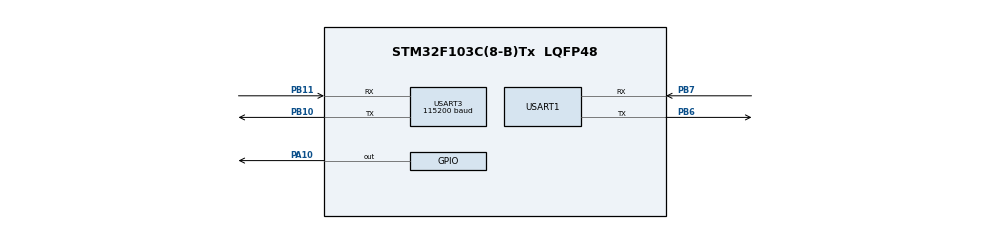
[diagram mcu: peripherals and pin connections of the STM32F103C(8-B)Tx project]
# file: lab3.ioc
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Mcu.Family=STM32F1
Mcu.Name=STM32F103C(8-B)Tx
Mcu.Package=LQFP48
NVIC.PriorityGroup=NVIC_PRIORITYGROUP_4
PA10.Signal=GPIO_Output
PA13.Mode=Serial_Wire
PA13.Signal=SYS_JTMS-SWDIO
PA14.Mode=Serial_Wire
PA14.Signal=SYS_JTCK-SWCLK
PB10.Mode=Asynchronous
PB10.Signal=USART3_TX
PB11.Mode=Asynchronous
PB11.Signal=USART3_RX
PB6.Mode=Asynchronous
PB6.Signal=USART1_TX
PB7.Mode=Asynchronous
PB7.Signal=USART1_RX
PC14-OSC32_IN.Mode=LSE-External-Clock-Source
PC14-OSC32_IN.Signal=RCC_OSC32_IN
PC15-OSC32_OUT.Mode=LSE-External-Clock-Source
PC15-OSC32_OUT.Signal=RCC_OSC32_OUT
PD0-OSC_IN.Mode=HSE-External-Clock-Source
PD0-OSC_IN.Signal=RCC_OSC_IN
PD1-OSC_OUT.Mode=HSE-External-Clock-Source
PD1-OSC_OUT.Signal=RCC_OSC_OUT
ProjectManager.HeapSize=0x200
ProjectManager.StackSize=0x400
ProjectManager.TargetToolchain=STM32CubeIDE
RCC.APB1Freq_Value=8000000
RCC.APB2Freq_Value=8000000
USART1.VirtualMode=VM_ASYNC
USART3.BaudRate=115200
USART3.VirtualMode=VM_ASYNC
board=custom

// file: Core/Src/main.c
/* USER CODE BEGIN Header */
/**
  ******************************************************************************
  * @file           : main.c
  * @brief          : Main program body
  ******************************************************************************
  * @attention
  *
  * Copyright (c) 2026 STMicroelectronics.
  * All rights reserved.
  *
  * This software is licensed under terms that can be found in the LICENSE file
  * in the root directory of this software component.
  * If no LICENSE file comes with this software, it is provided AS-IS.
  *
  ******************************************************************************
  */
/* USER CODE END Header */
#include "main.h"

UART_HandleTypeDef huart1;
UART_HandleTypeDef huart3;

void SystemClock_Config(void);
static void MX_GPIO_Init(void);
static void MX_USART1_UART_Init(void);
static void MX_USART3_UART_Init(void);

int main(void)
{

  /* MCU Configuration--------------------------------------------------------*/

  /* Reset of all peripherals, Initializes the Flash interface and the Systick. */
  HAL_Init();

  /* Configure the system clock */
  SystemClock_Config();

  /* Initialize all configured peripherals */
  MX_GPIO_Init();
  MX_USART1_UART_Init();
  MX_USART3_UART_Init();
  /* USER CODE BEGIN 2 */

  uint8_t txBuffer[6] = "Test0";
  uint8_t rxBuffer[6];
  uint32_t lastTx = 0;

  typedef enum {
	  TEST1,
	  TEST2,
	  TEST3,
	  TEST4
  } TestNum;

  /* USER CODE END 2 */

  /* Infinite loop */
  /* USER CODE BEGIN WHILE */
  TestNum testnum = TEST1;
  while (1)
  {
	  // 1. Transmit "Test3" every 2 seconds via USART3 (PB10)
	      if (HAL_GetTick() - lastTx >= 2000) {
	    	  switch (testnum) {
	    	  case TEST1:
	    		  testnum = TEST2;
	    		  txBuffer[4] = 49;
	    		  break;
	    	  case TEST2:
	    		  testnum = TEST3;
	    		  txBuffer[4] = 50;
	    		  break;
	    	  case TEST3:
	    		  testnum = TEST4;
	    		  txBuffer[4] = 51;
	    		  break;
	    	  case TEST4:
	    		  testnum = TEST1;
	    		  txBuffer[4] = 52;
	    		  break;
	    	  default:
	    		  break;
	    	}
	          HAL_UART_Transmit(&huart3, txBuffer, 5, 100); // [cite: 187, 191]
	          lastTx = HAL_GetTick();
	      }
    /* USER CODE END WHILE */

  }
}

void SystemClock_Config(void)
{
  RCC_OscInitTypeDef RCC_OscInitStruct = {0};
  RCC_ClkInitTypeDef RCC_ClkInitStruct = {0};

  /** Initializes the RCC Oscillators according to the specified parameters
  * in the RCC_OscInitTypeDef structure.
  */
  RCC_OscInitStruct.OscillatorType = RCC_OSCILLATORTYPE_HSI;
  RCC_OscInitStruct.HSIState = RCC_HSI_ON;
  RCC_OscInitStruct.HSICalibrationValue = RCC_HSICALIBRATION_DEFAULT;
  RCC_OscInitStruct.PLL.PLLState = RCC_PLL_NONE;
  if (HAL_RCC_OscConfig(&RCC_OscInitStruct) != HAL_OK)
  {
    Error_Handler();
  }

  /** Initializes the CPU, AHB and APB buses clocks
  */
  RCC_ClkInitStruct.ClockType = RCC_CLOCKTYPE_HCLK|RCC_CLOCKTYPE_SYSCLK
                              |RCC_CLOCKTYPE_PCLK1|RCC_CLOCKTYPE_PCLK2;
  RCC_ClkInitStruct.SYSCLKSource = RCC_SYSCLKSOURCE_HSI;
  RCC_ClkInitStruct.AHBCLKDivider = RCC_SYSCLK_DIV1;
  RCC_ClkInitStruct.APB1CLKDivider = RCC_HCLK_DIV1;
  RCC_ClkInitStruct.APB2CLKDivider = RCC_HCLK_DIV1;

  if (HAL_RCC_ClockConfig(&RCC_ClkInitStruct, FLASH_LATENCY_0) != HAL_OK)
  {
    Error_Handler();
  }
}

static void MX_USART1_UART_Init(void)
{

  huart1.Instance = USART1;
  huart1.Init.BaudRate = 115200;
  huart1.Init.WordLength = UART_WORDLENGTH_8B;
  huart1.Init.StopBits = UART_STOPBITS_1;
  huart1.Init.Parity = UART_PARITY_NONE;
  huart1.Init.Mode = UART_MODE_TX_RX;
  huart1.Init.HwFlowCtl = UART_HWCONTROL_NONE;
  huart1.Init.OverSampling = UART_OVERSAMPLING_16;
  if (HAL_UART_Init(&huart1) != HAL_OK)
  {
    Error_Handler();
  }

}

static void MX_USART3_UART_Init(void)
{

  huart3.Instance = USART3;
  huart3.Init.BaudRate = 115200;
  huart3.Init.WordLength = UART_WORDLENGTH_8B;
  huart3.Init.StopBits = UART_STOPBITS_1;
  huart3.Init.Parity = UART_PARITY_NONE;
  huart3.Init.Mode = UART_MODE_TX_RX;
  huart3.Init.HwFlowCtl = UART_HWCONTROL_NONE;
  huart3.Init.OverSampling = UART_OVERSAMPLING_16;
  if (HAL_UART_Init(&huart3) != HAL_OK)
  {
    Error_Handler();
  }

}

static void MX_GPIO_Init(void)
{
  GPIO_InitTypeDef GPIO_InitStruct = {0};

  /* GPIO Ports Clock Enable */
  __HAL_RCC_GPIOC_CLK_ENABLE();
  __HAL_RCC_GPIOD_CLK_ENABLE();
  __HAL_RCC_GPIOB_CLK_ENABLE();
  __HAL_RCC_GPIOA_CLK_ENABLE();

  /*Configure GPIO pin Output Level */
  HAL_GPIO_WritePin(GPIOA, GPIO_PIN_10, GPIO_PIN_RESET);

  /*Configure GPIO pin : PA10 */
  GPIO_InitStruct.Pin = GPIO_PIN_10;
  GPIO_InitStruct.Mode = GPIO_MODE_OUTPUT_PP;
  GPIO_InitStruct.Pull = GPIO_NOPULL;
  GPIO_InitStruct.Speed = GPIO_SPEED_FREQ_LOW;
  HAL_GPIO_Init(GPIOA, &GPIO_InitStruct);

}

void Error_Handler(void)
{
  __disable_irq();
  while (1)
  {
  }
}
